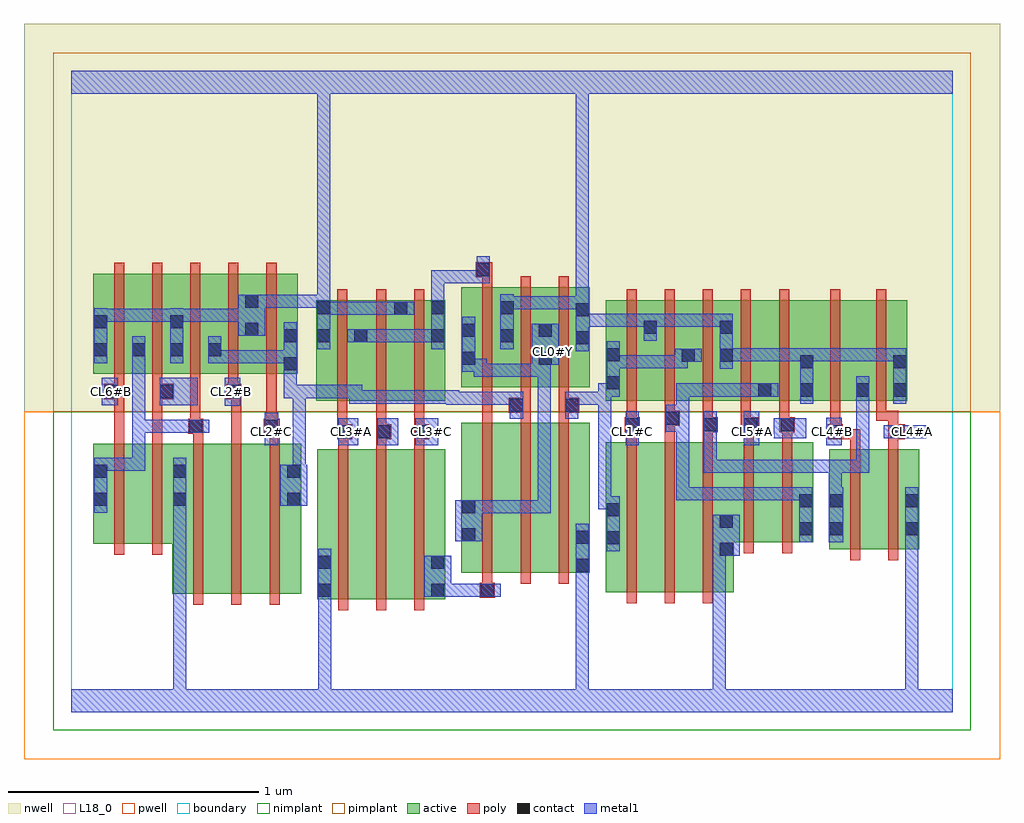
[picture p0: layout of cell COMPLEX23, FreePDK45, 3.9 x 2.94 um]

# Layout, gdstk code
import gdstk
lib = gdstk.Library(unit=1e-6, precision=1e-09)
def R(c, l, rs):  # rectangles x0, y0, x1, y1
    for r in rs: c.add(gdstk.rectangle(r[:2], r[2:], *l))
def A(c, l, x, y, w, h, nx, ny, dx, dy):  # array of equal rectangles
    R(c, l, [(x+i*dx, y+j*dy, x+i*dx+w, y+j*dy+h) for i in range(nx) for j in range(ny)])
active = (1, 0)
pwell = (2, 0)
nwell = (3, 0)
nimplant = (4, 0)
pimplant = (5, 0)
poly = (9, 0)
contact = (10, 0)
metal1 = (11, 0)
L18_0 = (18, 0)
boundary = (235, 0)

complex23 = lib.new_cell('COMPLEX23')
A(complex23, active, 2.282, 1.244, 0.212, 0.4, 3, 1, 0.152, 0)
A(complex23, active, 0.088, 1.35, 0.212, 0.4, 3, 1, 0.152, 0)
A(complex23, active, 0.088, 1.35, 0.06, 0.294, 4, 1, 0.152, 0)
R(complex23, active, [(0.982,0.45,1.162,1.05), (0.982,0.45,1.042,1.05), (1.162,0.45,1.314,1.05), (1.314,0.45,1.494,1.05), (1.434,0.45,1.494,1.05), (0.404,0.472,0.584,1.072), (0.404,0.472,0.464,1.062), (0.584,0.472,0.736,1.072), (0.736,0.472,0.918,1.072), (2.134,0.478,2.314,1.078), (2.314,0.478,2.466,1.078), (2.466,0.478,2.646,1.078), (2.586,0.478,2.646,0.828), (0.858,0.556,0.918,1.072), (1.558,0.556,1.738,1.156), (1.558,0.556,1.618,1.156), (1.738,0.556,1.89,1.156), (1.89,0.556,2.07,1.156), (2.01,0.556,2.07,1.156), (2.134,0.556,2.194,1.078), (3.026,0.65,3.086,1.05), (3.026,0.65,3.206,1.05), (3.206,0.65,3.386,1.05), (3.326,0.65,3.386,1.05), (0.088,0.672,0.148,1.072), (0.088,0.672,0.268,1.072), (0.268,0.672,0.464,1.072), (2.586,0.678,2.782,1.078), (2.782,0.678,2.962,1.078), (2.902,0.678,2.962,1.078), (0.978,1.244,1.038,1.644), (0.978,1.244,1.186,1.644), (1.126,1.244,1.346,1.644), (1.286,1.244,1.494,1.644), (1.434,1.244,1.494,1.644), (2.134,1.244,2.194,1.644), (2.134,1.244,2.342,1.644), (2.738,1.244,2.966,1.644), (2.906,1.244,3.19,1.644), (3.13,1.244,3.338,1.644), (3.278,1.244,3.338,1.644), (2.738,1.256,2.798,1.644), (2.906,1.256,2.966,1.644), (3.13,1.256,3.19,1.644), (1.558,1.296,1.77,1.696), (1.558,1.296,1.618,1.644), (1.71,1.296,1.77,1.696), (1.71,1.296,1.922,1.696), (1.862,1.296,1.922,1.696), (1.862,1.296,2.07,1.696), (2.01,1.296,2.07,1.696), (0.544,1.35,0.752,1.75), (0.692,1.35,0.752,1.75), (0.692,1.35,0.904,1.75), (0.844,1.35,0.904,1.644), (2.434,1.394,2.494,1.644), (2.586,1.394,2.646,1.644), (1.286,1.444,1.346,1.644), (1.126,1.472,1.186,1.644), (2.282,1.506,2.342,1.644)])
R(complex23, pwell, [(-0.188,-0.188,3.708,1.2)])
R(complex23, nwell, [(-0.188,1.2,3.708,2.748)])
R(complex23, nimplant, [(-0.072,-0.072,3.592,1.2)])
R(complex23, pimplant, [(-0.072,1.2,3.592,2.632)])
A(complex23, poly, 1.066, 0.406, 0.04, 0.688, 3, 1, 0.152, 0)
A(complex23, poly, 0.488, 0.428, 0.04, 0.688, 3, 1, 0.152, 0)
A(complex23, poly, 2.218, 0.434, 0.04, 0.688, 3, 1, 0.152, 0)
A(complex23, poly, 1.642, 0.512, 0.04, 0.688, 3, 1, 0.152, 0)
A(complex23, poly, 1.066, 1.054, 0.04, 0.076, 3, 1, 0.152, 0)
A(complex23, poly, 2.522, 1.138, 0.04, 0.102, 3, 1, 0.152, 0)
A(complex23, poly, 1.642, 1.16, 0.04, 0.076, 3, 1, 0.152, 0)
A(complex23, poly, 2.218, 1.2, 0.04, 0.488, 5, 1, 0.152, 0)
A(complex23, poly, 1.642, 1.252, 0.04, 0.488, 3, 1, 0.152, 0)
A(complex23, poly, 0.172, 1.306, 0.04, 0.488, 5, 1, 0.152, 0)
R(complex23, poly, [(1.632,0.456,1.692,0.516), (1.642,0.476,1.682,0.552), (3.11,0.606,3.15,1.094), (3.262,0.606,3.302,1.094), (0.172,0.628,0.212,1.116), (0.324,0.628,0.364,1.116), (2.686,0.634,2.726,1.122), (2.838,0.634,2.878,1.122), (3.11,1.054,3.15,1.13), (3.262,1.054,3.302,1.13), (0.172,1.076,0.212,1.29), (0.324,1.076,0.364,1.29), (0.488,1.076,0.528,1.152), (0.64,1.076,0.68,1.29), (0.792,1.076,0.832,1.152), (2.218,1.082,2.258,1.158), (2.37,1.082,2.41,1.184), (2.522,1.082,2.562,1.158), (2.686,1.082,2.726,1.158), (2.838,1.082,2.878,1.158), (1.062,1.09,1.122,1.15), (1.218,1.09,1.278,1.15), (1.37,1.09,1.43,1.15), (3.02,1.09,3.08,1.15), (3.04,1.09,3.08,1.13), (3.04,1.09,3.15,1.13), (3.262,1.09,3.328,1.15), (1.062,1.11,1.102,1.24), (1.062,1.11,1.102,1.15), (1.062,1.11,1.102,1.15), (1.218,1.11,1.258,1.24), (1.218,1.11,1.258,1.15), (1.218,1.11,1.258,1.15), (1.37,1.11,1.41,1.24), (1.37,1.11,1.41,1.15), (1.37,1.11,1.41,1.15), (3.03,1.11,3.07,1.24), (3.262,1.11,3.302,1.204), (0.468,1.112,0.528,1.172), (0.77,1.112,0.832,1.172), (2.21,1.118,2.27,1.178), (2.522,1.118,2.582,1.178), (2.674,1.118,2.742,1.178), (2.686,1.118,2.726,1.158), (2.686,1.118,2.726,1.158), (2.826,1.118,2.888,1.178), (2.838,1.118,2.878,1.158), (2.838,1.118,2.878,1.158), (0.476,1.132,0.516,1.172), (0.476,1.132,0.516,1.172), (0.476,1.132,0.516,1.346), (0.78,1.132,0.82,1.172), (0.78,1.132,0.82,1.172), (0.78,1.132,0.82,1.346), (2.218,1.138,2.258,1.178), (2.218,1.138,2.258,1.178), (2.218,1.138,2.258,1.24), (2.522,1.138,2.562,1.178), (2.522,1.138,2.562,1.178), (2.37,1.144,2.41,1.184), (2.37,1.144,2.41,1.184), (2.37,1.144,2.43,1.204), (2.37,1.164,2.41,1.24), (3.214,1.164,3.254,1.24), (3.214,1.164,3.302,1.204), (1.642,1.196,1.682,1.236), (1.642,1.196,1.682,1.236), (1.642,1.196,1.682,1.236), (1.642,1.196,1.682,1.292), (1.748,1.196,1.834,1.256), (1.794,1.196,1.834,1.236), (1.794,1.196,1.834,1.236), (1.946,1.196,2.028,1.256), (1.062,1.2,1.102,1.688), (1.218,1.2,1.258,1.688), (1.37,1.2,1.41,1.688), (3.03,1.2,3.07,1.688), (3.214,1.2,3.254,1.688), (1.794,1.216,1.834,1.292), (1.946,1.216,1.986,1.292), (1.946,1.216,1.986,1.256), (1.946,1.216,1.986,1.256), (0.13,1.25,0.212,1.31), (0.324,1.25,0.364,1.29), (0.324,1.25,0.364,1.29), (0.324,1.25,0.41,1.31), (0.62,1.25,0.68,1.31), (0.64,1.25,0.68,1.29), (0.64,1.25,0.68,1.29), (0.172,1.27,0.212,1.346), (0.172,1.27,0.212,1.31), (0.172,1.27,0.212,1.31), (0.324,1.27,0.364,1.346), (0.628,1.27,0.668,1.346), (1.642,1.7,1.682,1.776), (1.616,1.736,1.682,1.796)])
A(complex23, contact, 0.092, 1.42, 0.052, 0.052, 4, 1, 0.152, 0)
R(complex23, contact, [(0.986,0.46,1.038,0.512), (1.438,0.46,1.49,0.512), (1.636,0.46,1.688,0.512), (2.014,0.56,2.066,0.612), (0.986,0.572,1.038,0.624), (1.438,0.572,1.49,0.624), (2.59,0.624,2.642,0.676), (2.138,0.67,2.19,0.722), (2.014,0.672,2.066,0.724), (1.562,0.682,1.614,0.734), (2.906,0.706,2.958,0.758), (3.03,0.706,3.082,0.758), (3.33,0.706,3.382,0.758), (2.59,0.736,2.642,0.788), (2.138,0.782,2.19,0.834), (1.562,0.794,1.614,0.846), (2.906,0.818,2.958,0.87), (3.03,0.818,3.082,0.87), (3.33,0.818,3.382,0.87), (0.092,0.824,0.144,0.876), (0.408,0.824,0.46,0.876), (0.862,0.824,0.914,0.876), (0.092,0.936,0.144,0.988), (0.408,0.936,0.46,0.988), (0.862,0.936,0.914,0.988), (1.066,1.094,1.118,1.146), (1.222,1.094,1.274,1.146), (1.374,1.094,1.426,1.146), (3.024,1.094,3.076,1.146), (3.272,1.094,3.324,1.146), (0.472,1.116,0.524,1.168), (0.774,1.116,0.826,1.168), (2.214,1.122,2.266,1.174), (2.526,1.122,2.578,1.174), (2.686,1.122,2.738,1.174), (2.832,1.122,2.884,1.174), (2.374,1.148,2.426,1.2), (1.752,1.2,1.804,1.252), (1.972,1.2,2.024,1.252), (0.134,1.254,0.186,1.306), (0.354,1.254,0.406,1.306), (0.624,1.254,0.676,1.306), (2.742,1.26,2.794,1.312), (2.91,1.26,2.962,1.312), (3.134,1.26,3.186,1.312), (3.282,1.26,3.334,1.312), (2.138,1.288,2.19,1.34), (0.848,1.364,0.9,1.416), (2.91,1.372,2.962,1.424), (3.282,1.372,3.334,1.424), (1.562,1.386,1.614,1.438), (1.866,1.386,1.918,1.438), (2.438,1.398,2.49,1.45), (2.59,1.398,2.642,1.45), (2.138,1.4,2.19,1.452), (2.014,1.468,2.066,1.52), (0.848,1.476,0.9,1.528), (0.982,1.476,1.034,1.528), (1.13,1.476,1.182,1.528), (1.438,1.476,1.49,1.528), (1.714,1.476,1.766,1.528), (1.562,1.498,1.614,1.55), (1.866,1.498,1.918,1.55), (0.696,1.502,0.748,1.554), (2.286,1.51,2.338,1.562), (2.59,1.51,2.642,1.562), (0.092,1.532,0.144,1.584), (0.396,1.532,0.448,1.584), (2.014,1.58,2.066,1.632), (1.29,1.586,1.342,1.638), (0.982,1.588,1.034,1.64), (1.438,1.588,1.49,1.64), (1.714,1.588,1.766,1.64), (0.696,1.614,0.748,1.666), (1.62,1.74,1.672,1.792)])
R(complex23, metal1, [(0,0,3.52,0.092), (0.408,0.04,0.46,0.092), (0.408,0.04,0.46,0.092), (0.408,0.04,0.46,0.848), (0.986,0.04,1.038,0.092), (0.986,0.04,1.038,0.092), (0.986,0.04,1.038,0.092), (0.986,0.04,1.038,0.092), (0.986,0.04,1.038,0.092), (0.986,0.04,1.038,0.092), (0.986,0.04,1.038,0.484), (2.014,0.04,2.066,0.092), (2.014,0.04,2.066,0.092), (2.014,0.04,2.066,0.092), (2.014,0.04,2.066,0.092), (2.014,0.04,2.066,0.092), (2.014,0.04,2.066,0.092), (2.014,0.04,2.066,0.584), (2.562,0.04,2.614,0.092), (2.562,0.04,2.614,0.092), (2.562,0.04,2.614,0.092), (2.562,0.04,2.614,0.092), (2.562,0.04,2.614,0.092), (2.562,0.04,2.614,0.092), (2.562,0.04,2.614,0.676), (3.33,0.04,3.382,0.092), (3.33,0.04,3.382,0.092), (3.33,0.04,3.382,0.73), (0.986,0.432,1.038,0.484), (0.986,0.432,1.038,0.484), (0.986,0.432,1.038,0.652), (1.41,0.46,1.518,0.624), (1.466,0.46,1.518,0.512), (1.466,0.46,1.518,0.512), (1.466,0.46,1.518,0.512), (1.466,0.46,1.518,0.512), (1.466,0.46,1.66,0.512), (1.608,0.46,1.716,0.512), (2.014,0.532,2.066,0.584), (2.014,0.532,2.066,0.584), (2.014,0.532,2.066,0.752), (2.562,0.624,2.614,0.676), (2.562,0.624,2.614,0.676), (2.562,0.624,2.67,0.788), (2.138,0.642,2.19,0.862), (2.906,0.678,2.958,0.898), (3.024,0.678,3.082,0.898), (3.33,0.678,3.382,0.73), (3.33,0.678,3.382,0.73), (3.33,0.678,3.382,0.73), (3.33,0.678,3.382,0.73), (3.33,0.678,3.382,0.73), (3.33,0.678,3.382,0.73), (3.33,0.678,3.382,0.73), (3.33,0.678,3.382,0.73), (3.33,0.678,3.382,0.73), (3.33,0.678,3.382,0.73), (3.33,0.678,3.382,0.898), (1.534,0.682,1.642,0.846), (1.59,0.794,1.66,0.846), (1.608,0.794,1.66,0.846), (1.608,0.794,1.78,0.846), (1.728,0.794,1.78,0.846), (1.728,0.794,1.78,0.846), (1.728,0.794,1.78,0.846), (1.728,0.794,1.914,0.846), (1.862,0.794,1.914,0.846), (1.862,0.794,1.914,0.846), (1.862,0.794,1.914,0.846), (1.862,0.794,1.914,1.39), (0.092,0.796,0.144,1.016), (0.408,0.796,0.46,0.848), (0.408,0.796,0.46,0.848), (0.408,0.796,0.46,0.848), (0.408,0.796,0.46,0.848), (0.408,0.796,0.46,0.848), (0.408,0.796,0.46,0.848), (0.408,0.796,0.46,1.016), (2.104,0.81,2.156,0.862), (2.104,0.81,2.19,0.862), (2.104,0.81,2.156,1.28), (0.834,0.824,0.942,0.988), (2.416,0.846,2.468,0.898), (2.416,0.846,2.628,0.898), (2.416,0.846,2.468,1.228), (2.576,0.846,2.628,0.898), (2.576,0.846,2.628,0.898), (2.576,0.846,2.628,0.898), (2.576,0.846,2.738,0.898), (2.686,0.846,2.738,0.898), (2.686,0.846,2.846,0.898), (2.794,0.846,2.846,0.898), (2.794,0.846,2.958,0.898), (2.906,0.846,2.958,0.898), (2.906,0.846,2.958,0.898), (3.024,0.846,3.076,1.008), (0.884,0.936,0.936,0.988), (0.884,0.936,0.936,0.988), (0.884,0.936,0.936,1.306), (2.526,0.956,2.738,1.008), (2.526,0.956,2.578,1.146), (2.686,0.956,2.738,1.008), (2.686,0.956,2.846,1.008), (2.794,0.956,2.846,1.008), (2.794,0.956,2.956,1.008), (2.904,0.956,2.956,1.008), (2.904,0.956,2.956,1.008), (2.904,0.956,2.956,1.008), (2.904,0.956,3.076,1.008), (3.024,0.956,3.076,1.008), (3.024,0.956,3.186,1.008), (3.134,0.956,3.186,1.008), (3.134,0.956,3.186,1.008), (3.134,0.956,3.186,1.008), (3.134,0.956,3.186,1.262), (0.092,0.964,0.144,1.016), (0.092,0.964,0.144,1.016), (0.092,0.964,0.296,1.016), (0.244,0.964,0.296,1.016), (0.244,0.964,0.296,1.168), (0.774,1.066,0.826,1.196), (1.066,1.066,1.146,1.174), (1.222,1.066,1.306,1.174), (1.374,1.066,1.466,1.174), (2.214,1.066,2.266,1.202), (2.686,1.066,2.746,1.202), (3.014,1.066,3.076,1.176), (2.526,1.094,2.578,1.146), (2.526,1.094,2.578,1.202), (2.804,1.094,2.934,1.174), (3.244,1.094,3.414,1.146), (0.244,1.116,0.296,1.168), (0.244,1.116,0.296,1.168), (0.244,1.116,0.296,1.168), (0.244,1.116,0.49,1.168), (0.244,1.116,0.296,1.444), (0.438,1.116,0.49,1.168), (0.438,1.116,0.496,1.168), (0.444,1.116,0.552,1.168), (2.374,1.12,2.426,1.228), (1.752,1.172,1.804,1.28), (1.972,1.172,2.024,1.28), (2.374,1.176,2.468,1.228), (2.416,1.176,2.468,1.228), (2.416,1.176,2.468,1.228), (2.416,1.176,2.468,1.312), (3.134,1.21,3.186,1.262), (3.134,1.21,3.186,1.284), (0.614,1.224,0.676,1.334), (0.122,1.226,0.186,1.334), (0.354,1.226,0.506,1.334), (1.498,1.228,1.67,1.28), (1.498,1.228,1.55,1.284), (1.618,1.228,1.67,1.28), (1.618,1.228,1.752,1.28), (1.7,1.228,1.752,1.28), (1.7,1.228,1.804,1.28), (1.972,1.228,2.156,1.28), (2.104,1.228,2.156,1.28), (2.104,1.228,2.156,1.28), (2.104,1.228,2.156,1.28), (2.104,1.228,2.156,1.312), (1.11,1.232,1.162,1.284), (1.11,1.232,1.162,1.284), (1.11,1.232,1.162,1.306), (1.11,1.232,1.32,1.284), (1.268,1.232,1.32,1.284), (1.268,1.232,1.32,1.284), (1.268,1.232,1.32,1.284), (1.268,1.232,1.55,1.284), (1.498,1.232,1.55,1.284), (1.498,1.232,1.55,1.284), (2.91,1.232,2.962,1.452), (3.134,1.232,3.186,1.34), (3.282,1.232,3.334,1.452), (0.848,1.254,0.9,1.388), (0.848,1.254,0.936,1.306), (0.884,1.254,0.936,1.306), (0.884,1.254,0.936,1.306), (0.884,1.254,1.052,1.306), (1,1.254,1.052,1.306), (1,1.254,1.162,1.306), (2.104,1.26,2.19,1.312), (2.138,1.26,2.19,1.312), (2.138,1.26,2.19,1.48), (2.416,1.26,2.628,1.312), (2.576,1.26,2.628,1.312), (2.576,1.26,2.628,1.312), (2.576,1.26,2.628,1.312), (2.576,1.26,2.628,1.312), (2.576,1.26,2.628,1.312), (2.576,1.26,2.738,1.312), (2.686,1.26,2.738,1.312), (2.686,1.26,2.766,1.312), (2.714,1.26,2.822,1.312), (0.848,1.336,0.9,1.556), (1.608,1.338,1.78,1.39), (1.608,1.338,1.66,1.41), (1.728,1.338,1.78,1.39), (1.728,1.338,1.78,1.39), (1.728,1.338,1.78,1.39), (1.728,1.338,1.914,1.39), (1.862,1.338,1.914,1.39), (1.862,1.338,1.914,1.39), (1.862,1.338,1.914,1.39), (1.862,1.338,1.914,1.438), (1.562,1.358,1.614,1.578), (1.562,1.358,1.66,1.41), (2.59,1.37,2.642,1.59), (2.138,1.372,2.3,1.424), (2.248,1.372,2.3,1.424), (2.248,1.372,2.3,1.424), (2.248,1.372,2.3,1.424), (2.248,1.372,2.462,1.424), (2.41,1.372,2.462,1.45), (1.838,1.386,1.946,1.55), (0.092,1.392,0.144,1.612), (0.244,1.392,0.296,1.444), (0.244,1.392,0.296,1.444), (0.244,1.392,0.296,1.5), (0.396,1.392,0.448,1.612), (0.548,1.392,0.6,1.444), (0.548,1.392,0.6,1.444), (0.548,1.392,0.6,1.5), (0.548,1.392,0.776,1.444), (0.724,1.392,0.776,1.444), (0.724,1.392,0.776,1.444), (0.724,1.392,0.776,1.444), (0.724,1.392,0.9,1.444), (2.41,1.398,2.462,1.45), (2.41,1.398,2.518,1.45), (2.59,1.4,2.738,1.452), (2.686,1.4,2.738,1.452), (2.686,1.4,2.846,1.452), (2.794,1.4,2.846,1.452), (2.794,1.4,2.962,1.452), (2.91,1.4,2.962,1.452), (2.91,1.4,2.962,1.452), (2.91,1.4,3.072,1.452), (3.02,1.4,3.072,1.452), (3.02,1.4,3.186,1.452), (3.134,1.4,3.186,1.452), (3.134,1.4,3.186,1.452), (3.134,1.4,3.186,1.452), (3.134,1.4,3.334,1.452), (3.282,1.4,3.334,1.452), (3.282,1.4,3.334,1.452), (2.014,1.44,2.066,1.66), (0.982,1.448,1.034,1.668), (1.438,1.448,1.49,1.668), (1.714,1.448,1.766,1.668), (1.102,1.476,1.21,1.528), (1.158,1.476,1.21,1.528), (1.158,1.476,1.21,1.528), (1.158,1.476,1.32,1.528), (1.268,1.476,1.32,1.528), (1.268,1.476,1.32,1.528), (1.268,1.476,1.32,1.528), (1.268,1.476,1.49,1.528), (2.286,1.482,2.338,1.59), (0.668,1.502,0.776,1.666), (2.014,1.538,2.134,1.59), (2.082,1.538,2.134,1.59), (2.082,1.538,2.3,1.59), (2.248,1.538,2.3,1.59), (2.248,1.538,2.338,1.59), (2.286,1.538,2.448,1.59), (2.396,1.538,2.448,1.59), (2.396,1.538,2.448,1.59), (2.396,1.538,2.448,1.59), (2.396,1.538,2.628,1.59), (2.576,1.538,2.628,1.59), (2.576,1.538,2.642,1.59), (0.092,1.558,0.172,1.61), (0.12,1.558,0.172,1.61), (0.12,1.558,0.296,1.61), (0.244,1.558,0.296,1.61), (0.244,1.558,0.296,1.61), (0.244,1.558,0.296,1.61), (0.244,1.558,0.448,1.61), (0.396,1.558,0.448,1.61), (0.396,1.558,0.448,1.61), (0.396,1.558,0.61,1.61), (0.558,1.558,0.61,1.61), (0.558,1.558,0.61,1.61), (0.558,1.558,0.61,1.61), (0.558,1.558,0.72,1.61), (0.982,1.586,1.052,1.638), (1,1.586,1.052,1.638), (1,1.586,1.204,1.638), (1.152,1.586,1.204,1.638), (1.152,1.586,1.204,1.638), (1.152,1.586,1.204,1.638), (1.152,1.586,1.314,1.638), (1.262,1.586,1.37,1.638), (1.714,1.608,1.782,1.66), (1.73,1.608,1.782,1.66), (1.73,1.608,1.914,1.66), (1.862,1.608,1.914,1.66), (1.862,1.608,1.914,1.66), (1.862,1.608,1.914,1.66), (1.862,1.608,2.066,1.66), (2.014,1.608,2.066,2.52), (0.724,1.614,0.776,1.666), (0.724,1.614,0.776,1.666), (0.724,1.614,0.942,1.666), (0.89,1.614,0.942,1.666), (0.89,1.614,1.034,1.666), (0.982,1.616,1.034,2.52), (1.438,1.616,1.49,1.668), (1.438,1.616,1.49,1.668), (1.438,1.616,1.49,1.764), (1.438,1.712,1.49,1.764), (1.438,1.712,1.49,1.764), (1.438,1.712,1.49,1.764), (1.438,1.712,1.49,1.764), (1.438,1.712,1.49,1.764), (1.438,1.712,1.49,1.764), (1.438,1.712,1.49,1.764), (1.438,1.712,1.672,1.764), (1.62,1.712,1.672,1.82), (0,2.468,3.52,2.56), (0.982,2.468,1.034,2.52), (0.982,2.468,1.034,2.52), (0.982,2.468,1.034,2.52), (0.982,2.468,1.034,2.52), (0.982,2.468,1.034,2.52), (0.982,2.468,1.034,2.52), (0.982,2.468,1.034,2.52), (0.982,2.468,1.034,2.52), (0.982,2.468,1.034,2.52), (0.982,2.468,1.034,2.52), (0.982,2.468,1.034,2.52), (0.982,2.468,1.034,2.52), (0.982,2.468,1.034,2.52), (0.982,2.468,1.034,2.52), (0.982,2.468,1.034,2.52), (0.982,2.468,1.034,2.52), (2.014,2.468,2.066,2.52), (2.014,2.468,2.066,2.52), (2.014,2.468,2.066,2.52), (2.014,2.468,2.066,2.52), (2.014,2.468,2.066,2.52), (2.014,2.468,2.066,2.52), (2.014,2.468,2.066,2.52), (2.014,2.468,2.066,2.52), (2.014,2.468,2.066,2.52), (2.014,2.468,2.066,2.52), (2.014,2.468,2.066,2.52), (2.014,2.468,2.066,2.52), (2.014,2.468,2.066,2.52), (2.014,2.468,2.066,2.52), (2.014,2.468,2.066,2.52), (2.014,2.468,2.066,2.52)])
A(complex23, L18_0, 1.094, 1.094, 0.052, 0.052, 3, 1, 0.16, 0)
A(complex23, L18_0, 2.694, 1.094, 0.052, 0.052, 3, 1, 0.16, 0)
R(complex23, L18_0, [(0,0,3.52,0.092), (0.408,0.04,0.46,0.092), (0.408,0.04,0.46,0.092), (0.408,0.04,0.46,0.848), (0.986,0.04,1.038,0.092), (0.986,0.04,1.038,0.092), (0.986,0.04,1.038,0.092), (0.986,0.04,1.038,0.092), (0.986,0.04,1.038,0.092), (0.986,0.04,1.038,0.092), (0.986,0.04,1.038,0.484), (2.014,0.04,2.066,0.092), (2.014,0.04,2.066,0.092), (2.014,0.04,2.066,0.092), (2.014,0.04,2.066,0.092), (2.014,0.04,2.066,0.092), (2.014,0.04,2.066,0.092), (2.014,0.04,2.066,0.584), (2.562,0.04,2.614,0.092), (2.562,0.04,2.614,0.092), (2.562,0.04,2.614,0.092), (2.562,0.04,2.614,0.092), (2.562,0.04,2.614,0.092), (2.562,0.04,2.614,0.092), (2.562,0.04,2.614,0.676), (3.33,0.04,3.382,0.092), (3.33,0.04,3.382,0.092), (3.33,0.04,3.382,0.73), (0.986,0.432,1.038,0.652), (0.986,0.432,1.038,0.484), (0.986,0.432,1.038,0.484), (2.014,0.532,2.066,0.752), (2.014,0.532,2.066,0.584), (2.014,0.532,2.066,0.584), (2.562,0.624,2.614,0.676), (2.562,0.624,2.614,0.676), (2.562,0.624,2.67,0.788), (3.33,0.678,3.382,0.898), (3.33,0.678,3.382,0.73), (3.33,0.678,3.382,0.73), (3.33,0.678,3.382,0.73), (3.33,0.678,3.382,0.73), (3.33,0.678,3.382,0.73), (3.33,0.678,3.382,0.73), (3.33,0.678,3.382,0.73), (3.33,0.678,3.382,0.73), (3.33,0.678,3.382,0.73), (3.33,0.678,3.382,0.73), (1.534,0.682,1.642,0.846), (1.59,0.794,1.66,0.846), (1.608,0.794,1.66,0.846), (1.608,0.794,1.78,0.846), (1.728,0.794,1.78,0.846), (1.728,0.794,1.78,0.846), (1.728,0.794,1.78,0.846), (1.728,0.794,1.914,0.846), (1.862,0.794,1.914,0.846), (1.862,0.794,1.914,0.846), (1.862,0.794,1.914,0.846), (1.862,0.794,1.914,1.39), (0.408,0.796,0.46,1.016), (0.408,0.796,0.46,0.848), (0.408,0.796,0.46,0.848), (0.408,0.796,0.46,0.848), (0.408,0.796,0.46,0.848), (0.408,0.796,0.46,0.848), (0.408,0.796,0.46,0.848), (0.774,1.066,0.826,1.196), (1.066,1.066,1.146,1.174), (1.222,1.066,1.306,1.174), (1.374,1.066,1.466,1.174), (2.214,1.066,2.266,1.202), (2.686,1.066,2.746,1.202), (3.014,1.066,3.076,1.176), (0.774,1.094,0.826,1.146), (2.214,1.094,2.266,1.146), (2.804,1.094,2.934,1.174), (3.244,1.094,3.414,1.146), (3.334,1.094,3.386,1.146), (0.614,1.224,0.676,1.334), (0.122,1.226,0.186,1.334), (0.354,1.226,0.506,1.334), (2.91,1.232,2.962,1.452), (3.282,1.232,3.334,1.452), (0.134,1.254,0.186,1.306), (0.454,1.254,0.506,1.306), (0.614,1.254,0.666,1.306), (1.608,1.338,1.66,1.41), (1.608,1.338,1.78,1.39), (1.728,1.338,1.78,1.39), (1.728,1.338,1.78,1.39), (1.728,1.338,1.78,1.39), (1.728,1.338,1.914,1.39), (1.862,1.338,1.914,1.39), (1.862,1.338,1.914,1.39), (1.862,1.338,1.914,1.39), (1.862,1.338,1.914,1.438), (1.562,1.358,1.614,1.578), (1.562,1.358,1.66,1.41), (2.59,1.37,2.642,1.59), (1.838,1.386,1.946,1.55), (0.092,1.392,0.144,1.612), (0.396,1.392,0.448,1.612), (2.59,1.4,2.738,1.452), (2.686,1.4,2.738,1.452), (2.686,1.4,2.846,1.452), (2.794,1.4,2.846,1.452), (2.794,1.4,2.962,1.452), (2.91,1.4,2.962,1.452), (2.91,1.4,2.962,1.452), (2.91,1.4,3.072,1.452), (3.02,1.4,3.072,1.452), (3.02,1.4,3.186,1.452), (3.134,1.4,3.186,1.452), (3.134,1.4,3.186,1.452), (3.134,1.4,3.186,1.452), (3.134,1.4,3.334,1.452), (3.282,1.4,3.334,1.452), (3.282,1.4,3.334,1.452), (1.894,1.414,1.946,1.466), (2.014,1.44,2.066,1.66), (0.982,1.448,1.034,1.668), (1.714,1.448,1.766,1.668), (2.286,1.482,2.338,1.59), (0.668,1.502,0.776,1.666), (2.014,1.538,2.134,1.59), (2.082,1.538,2.134,1.59), (2.082,1.538,2.3,1.59), (2.248,1.538,2.3,1.59), (2.248,1.538,2.338,1.59), (2.286,1.538,2.448,1.59), (2.396,1.538,2.448,1.59), (2.396,1.538,2.448,1.59), (2.396,1.538,2.448,1.59), (2.396,1.538,2.628,1.59), (2.576,1.538,2.628,1.59), (2.576,1.538,2.642,1.59), (0.092,1.558,0.172,1.61), (0.12,1.558,0.172,1.61), (0.12,1.558,0.296,1.61), (0.244,1.558,0.296,1.61), (0.244,1.558,0.296,1.61), (0.244,1.558,0.296,1.61), (0.244,1.558,0.448,1.61), (0.396,1.558,0.448,1.61), (0.396,1.558,0.448,1.61), (0.396,1.558,0.61,1.61), (0.558,1.558,0.61,1.61), (0.558,1.558,0.61,1.61), (0.558,1.558,0.61,1.61), (0.558,1.558,0.72,1.61), (0.982,1.586,1.052,1.638), (1,1.586,1.052,1.638), (1,1.586,1.204,1.638), (1.152,1.586,1.204,1.638), (1.152,1.586,1.204,1.638), (1.152,1.586,1.204,1.638), (1.152,1.586,1.314,1.638), (1.262,1.586,1.37,1.638), (1.714,1.608,1.782,1.66), (1.73,1.608,1.782,1.66), (1.73,1.608,1.914,1.66), (1.862,1.608,1.914,1.66), (1.862,1.608,1.914,1.66), (1.862,1.608,1.914,1.66), (1.862,1.608,2.066,1.66), (2.014,1.608,2.066,2.52), (0.724,1.614,0.776,1.666), (0.724,1.614,0.776,1.666), (0.724,1.614,0.942,1.666), (0.89,1.614,0.942,1.666), (0.89,1.614,1.034,1.666), (0.982,1.616,1.034,2.52), (0,2.468,3.52,2.56), (0.982,2.468,1.034,2.52), (0.982,2.468,1.034,2.52), (0.982,2.468,1.034,2.52), (0.982,2.468,1.034,2.52), (0.982,2.468,1.034,2.52), (0.982,2.468,1.034,2.52), (0.982,2.468,1.034,2.52), (0.982,2.468,1.034,2.52), (0.982,2.468,1.034,2.52), (0.982,2.468,1.034,2.52), (0.982,2.468,1.034,2.52), (0.982,2.468,1.034,2.52), (0.982,2.468,1.034,2.52), (0.982,2.468,1.034,2.52), (0.982,2.468,1.034,2.52), (0.982,2.468,1.034,2.52), (2.014,2.468,2.066,2.52), (2.014,2.468,2.066,2.52), (2.014,2.468,2.066,2.52), (2.014,2.468,2.066,2.52), (2.014,2.468,2.066,2.52), (2.014,2.468,2.066,2.52), (2.014,2.468,2.066,2.52), (2.014,2.468,2.066,2.52), (2.014,2.468,2.066,2.52), (2.014,2.468,2.066,2.52), (2.014,2.468,2.066,2.52), (2.014,2.468,2.066,2.52), (2.014,2.468,2.066,2.52), (2.014,2.468,2.066,2.52), (2.014,2.468,2.066,2.52), (2.014,2.468,2.066,2.52)])
R(complex23, boundary, [(0,0,3.52,2.56)])
complex23.add(gdstk.Label('CL0#Y', (1.92,1.44), layer=11, texttype=0))
complex23.add(gdstk.Label('CL1#C', (2.24,1.12), layer=11, texttype=0))
complex23.add(gdstk.Label('CL2#B', (0.64,1.28), layer=11, texttype=0))
complex23.add(gdstk.Label('CL2#C', (0.8,1.12), layer=11, texttype=0))
complex23.add(gdstk.Label('CL3#A', (1.12,1.12), layer=11, texttype=0))
complex23.add(gdstk.Label('CL3#B', (1.28,1.12), layer=11, texttype=0))
complex23.add(gdstk.Label('CL3#C', (1.44,1.12), layer=11, texttype=0))
complex23.add(gdstk.Label('CL4#A', (3.36,1.12), layer=11, texttype=0))
complex23.add(gdstk.Label('CL4#B', (3.04,1.12), layer=11, texttype=0))
complex23.add(gdstk.Label('CL5#A', (2.72,1.12), layer=11, texttype=0))
complex23.add(gdstk.Label('CL5#B', (2.88,1.12), layer=11, texttype=0))
complex23.add(gdstk.Label('CL6#A', (0.48,1.28), layer=11, texttype=0))
complex23.add(gdstk.Label('CL6#B', (0.16,1.28), layer=11, texttype=0))

lib.write_gds('COMPLEX23.gds')
